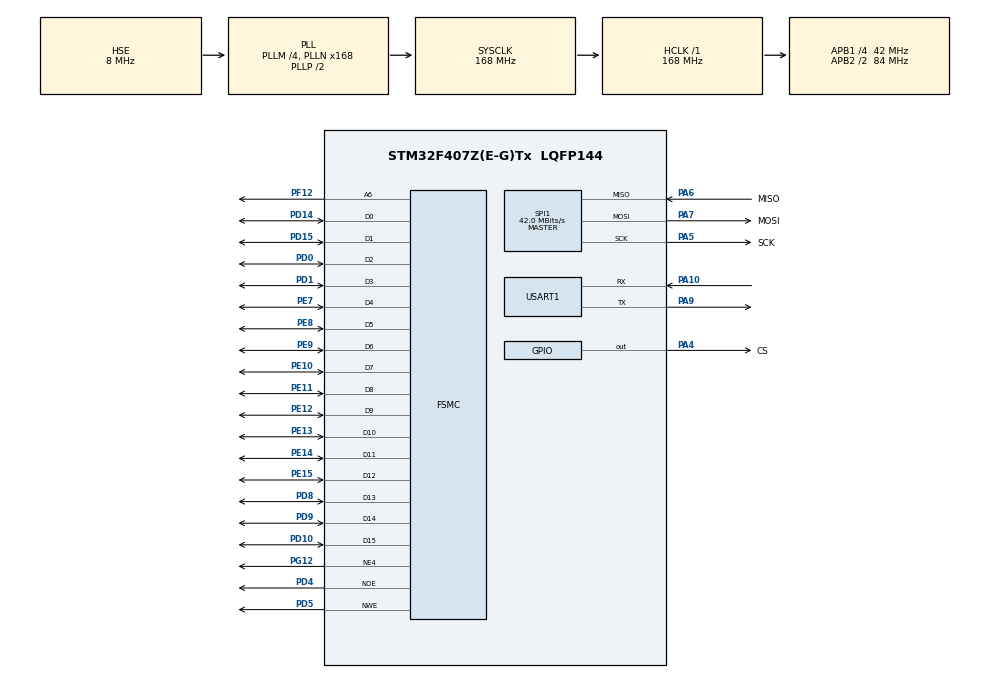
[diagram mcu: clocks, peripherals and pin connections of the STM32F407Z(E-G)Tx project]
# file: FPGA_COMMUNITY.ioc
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FSMC.BusTurnAroundDuration1=0
FSMC.DataSetupTime1=60
FSMC.ExtendedAddressSetupTime1=9
FSMC.ExtendedBusTurnAroundDuration1=0
FSMC.ExtendedDataSetupTime1=8
FSMC.ExtendedMode1=FSMC_EXTENDED_MODE_ENABLE
Mcu.Family=STM32F4
Mcu.Name=STM32F407Z(E-G)Tx
Mcu.Package=LQFP144
NVIC.PriorityGroup=NVIC_PRIORITYGROUP_4
PA10.GPIO_ModeDefaultPP=GPIO_MODE_AF_PP
PA10.Mode=Asynchronous
PA10.Signal=USART1_RX
PA13.Mode=Serial_Wire
PA13.Signal=SYS_JTMS-SWDIO
PA14.Mode=Serial_Wire
PA14.Signal=SYS_JTCK-SWCLK
PA4.GPIO_Label=CS
PA4.Signal=GPIO_Output
PA5.GPIO_Label=SCK
PA5.GPIO_PuPd=GPIO_PULLUP
PA5.Mode=Full_Duplex_Master
PA5.Signal=SPI1_SCK
PA6.GPIO_Label=MISO
PA6.GPIO_PuPd=GPIO_PULLUP
PA6.Mode=Full_Duplex_Master
PA6.Signal=SPI1_MISO
PA7.GPIO_Label=MOSI
PA7.GPIO_PuPd=GPIO_PULLUP
PA7.Mode=Full_Duplex_Master
PA7.Signal=SPI1_MOSI
PA9.GPIO_ModeDefaultPP=GPIO_MODE_AF_PP
PA9.Mode=Asynchronous
PA9.Signal=USART1_TX
PD0.Signal=FSMC_D2_DA2
PD1.Signal=FSMC_D3_DA3
PD10.Signal=FSMC_D15_DA15
PD14.Signal=FSMC_D0_DA0
PD15.Signal=FSMC_D1_DA1
PD4.Signal=FSMC_NOE
PD5.Signal=FSMC_NWE
PD8.Signal=FSMC_D13_DA13
PD9.Signal=FSMC_D14_DA14
PE10.Signal=FSMC_D7_DA7
PE11.Signal=FSMC_D8_DA8
PE12.Signal=FSMC_D9_DA9
PE13.Signal=FSMC_D10_DA10
PE14.Signal=FSMC_D11_DA11
PE15.Signal=FSMC_D12_DA12
PE7.Signal=FSMC_D4_DA4
PE8.Signal=FSMC_D5_DA5
PE9.Signal=FSMC_D6_DA6
PF12.Signal=FSMC_A6
PG12.Mode=NorPsramChipSelect4_1
PG12.Signal=FSMC_NE4
PH0-OSC_IN.Mode=HSE-External-Oscillator
PH0-OSC_IN.Signal=RCC_OSC_IN
PH1-OSC_OUT.Mode=HSE-External-Oscillator
PH1-OSC_OUT.Signal=RCC_OSC_OUT
ProjectManager.HeapSize=0x200
ProjectManager.StackSize=0x400
ProjectManager.TargetToolchain=MDK-ARM V5.27
RCC.48MHZClocksFreq_Value=84000000
RCC.AHBFreq_Value=168000000
RCC.APB1CLKDivider=RCC_HCLK_DIV4
RCC.APB1Freq_Value=42000000
RCC.APB1TimFreq_Value=84000000
RCC.APB2CLKDivider=RCC_HCLK_DIV2
RCC.APB2Freq_Value=84000000
RCC.APB2TimFreq_Value=168000000
RCC.CortexFreq_Value=168000000
RCC.HCLKFreq_Value=168000000
RCC.HSE_VALUE=8000000
RCC.HSI_VALUE=16000000
RCC.LSE_VALUE=32768
RCC.PLLM=4
RCC.PLLN=168
RCC.PLLSourceVirtual=RCC_PLLSOURCE_HSE
RCC.SYSCLKFreq_VALUE=168000000
RCC.SYSCLKSource=RCC_SYSCLKSOURCE_PLLCLK
RCC.VCOOutputFreq_Value=336000000
SH.FSMC_A6.0=FSMC_A6,A6_1
SH.FSMC_D0_DA0.0=FSMC_D0,16b-d1
SH.FSMC_D10_DA10.0=FSMC_D10,16b-d1
SH.FSMC_D11_DA11.0=FSMC_D11,16b-d1
SH.FSMC_D12_DA12.0=FSMC_D12,16b-d1
SH.FSMC_D13_DA13.0=FSMC_D13,16b-d1
SH.FSMC_D14_DA14.0=FSMC_D14,16b-d1
SH.FSMC_D15_DA15.0=FSMC_D15,16b-d1
SH.FSMC_D1_DA1.0=FSMC_D1,16b-d1
SH.FSMC_D2_DA2.0=FSMC_D2,16b-d1
SH.FSMC_D3_DA3.0=FSMC_D3,16b-d1
SH.FSMC_D4_DA4.0=FSMC_D4,16b-d1
SH.FSMC_D5_DA5.0=FSMC_D5,16b-d1
SH.FSMC_D6_DA6.0=FSMC_D6,16b-d1
SH.FSMC_D7_DA7.0=FSMC_D7,16b-d1
SH.FSMC_D8_DA8.0=FSMC_D8,16b-d1
SH.FSMC_D9_DA9.0=FSMC_D9,16b-d1
SH.FSMC_NOE.0=FSMC_NOE,Lcd1
SH.FSMC_NWE.0=FSMC_NWE,Lcd1
SPI1.CLKPhase=SPI_PHASE_2EDGE
SPI1.CLKPolarity=SPI_POLARITY_HIGH
SPI1.CalculateBaudRate=42.0 MBits/s
SPI1.DataSize=SPI_DATASIZE_16BIT
SPI1.Direction=SPI_DIRECTION_2LINES
SPI1.Mode=SPI_MODE_MASTER
SPI1.VirtualType=VM_MASTER
USART1.VirtualMode=VM_ASYNC
board=custom

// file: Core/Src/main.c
/* USER CODE BEGIN Header */
/**
  ******************************************************************************
  * @file           : main.c
  * @brief          : Main program body
  ******************************************************************************
  * @attention
  *
  * <h2><center>&copy; Copyright (c) 2021 STMicroelectronics.
  * All rights reserved.</center></h2>
  *
  * This software component is licensed by ST under BSD 3-Clause license,
  * the "License"; You may not use this file except in compliance with the
  * License. You may obtain a copy of the License at:
  *                        opensource.org/licenses/BSD-3-Clause
  *
  ******************************************************************************
  */
/* USER CODE END Header */
#include "main.h"
#include "spi.h"
#include "usart.h"
#include "gpio.h"
#include "fsmc.h"

/* USER CODE BEGIN Includes */
#include <stdio.h>
#include <string.h>
/* USER CODE END Includes */

/* USER CODE BEGIN PD */
#define LENGTH 3
/* USER CODE END PD */

void SystemClock_Config(void);

int main(void)
{
  /* USER CODE BEGIN 1 */
	uint8_t pData[LENGTH];
  /* USER CODE END 1 */

  /* MCU Configuration--------------------------------------------------------*/

  /* Reset of all peripherals, Initializes the Flash interface and the Systick. */
  HAL_Init();

  /* Configure the system clock */
  SystemClock_Config();

  /* Initialize all configured peripherals */
  MX_GPIO_Init();
  MX_FSMC_Init();
  MX_SPI1_Init();
  MX_USART1_UART_Init();
  /* USER CODE BEGIN 2 */
  printf("STM32 And FPGA SPI Communication Test\r\n");
  /* USER CODE END 2 */

  /* Infinite loop */
  /* USER CODE BEGIN WHILE */
	while (1) {
		uint8_t i;
		uint16_t data1, data2;
		memset(pData, 0, LENGTH);
		HAL_SPI_Receive(&hspi1, pData, LENGTH, 500);//接收数据
		data1 = pData[0];
		data1 <<= 4;
		data1 |= pData[1] >> 4;
		data2 = pData[1];
		data2 <<= 8;
		data2 |= pData[2];
		data2 &= 0xfff;
		printf("%d %d ", data1, data2);
		HAL_Delay(1);
    /* USER CODE END WHILE */

	}
}

void SystemClock_Config(void)
{
  RCC_OscInitTypeDef RCC_OscInitStruct = {0};
  RCC_ClkInitTypeDef RCC_ClkInitStruct = {0};

  /** Configure the main internal regulator output voltage
  */
  __HAL_RCC_PWR_CLK_ENABLE();
  __HAL_PWR_VOLTAGESCALING_CONFIG(PWR_REGULATOR_VOLTAGE_SCALE1);
  /** Initializes the RCC Oscillators according to the specified parameters
  * in the RCC_OscInitTypeDef structure.
  */
  RCC_OscInitStruct.OscillatorType = RCC_OSCILLATORTYPE_HSE;
  RCC_OscInitStruct.HSEState = RCC_HSE_ON;
  RCC_OscInitStruct.PLL.PLLState = RCC_PLL_ON;
  RCC_OscInitStruct.PLL.PLLSource = RCC_PLLSOURCE_HSE;
  RCC_OscInitStruct.PLL.PLLM = 4;
  RCC_OscInitStruct.PLL.PLLN = 168;
  RCC_OscInitStruct.PLL.PLLP = RCC_PLLP_DIV2;
  RCC_OscInitStruct.PLL.PLLQ = 4;
  if (HAL_RCC_OscConfig(&RCC_OscInitStruct) != HAL_OK)
  {
    Error_Handler();
  }
  /** Initializes the CPU, AHB and APB buses clocks
  */
  RCC_ClkInitStruct.ClockType = RCC_CLOCKTYPE_HCLK|RCC_CLOCKTYPE_SYSCLK
                              |RCC_CLOCKTYPE_PCLK1|RCC_CLOCKTYPE_PCLK2;
  RCC_ClkInitStruct.SYSCLKSource = RCC_SYSCLKSOURCE_PLLCLK;
  RCC_ClkInitStruct.AHBCLKDivider = RCC_SYSCLK_DIV1;
  RCC_ClkInitStruct.APB1CLKDivider = RCC_HCLK_DIV4;
  RCC_ClkInitStruct.APB2CLKDivider = RCC_HCLK_DIV2;

  if (HAL_RCC_ClockConfig(&RCC_ClkInitStruct, FLASH_LATENCY_5) != HAL_OK)
  {
    Error_Handler();
  }
}

void Error_Handler(void)
{
	__disable_irq();
	while (1) {
	}
}

/************************ (C) COPYRIGHT STMicroelectronics *****END OF FILE****/
